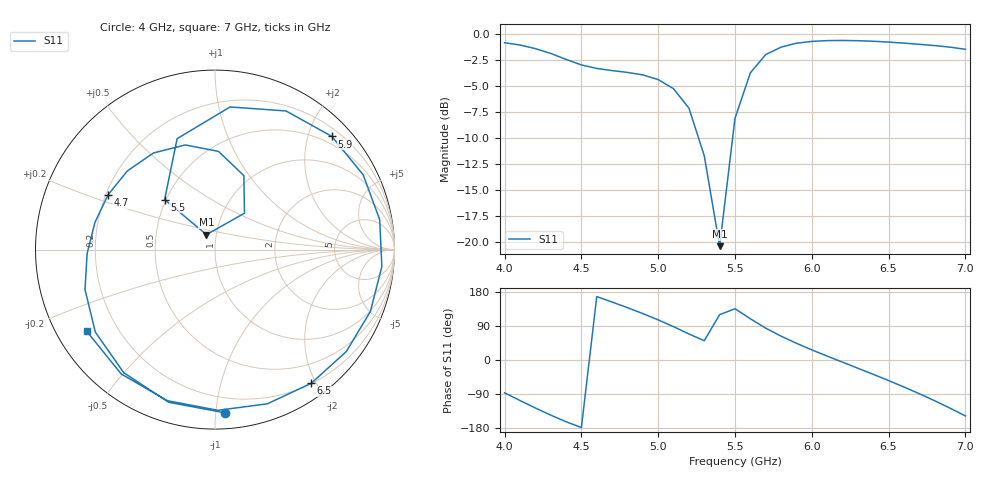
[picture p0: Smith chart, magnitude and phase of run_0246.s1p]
! Touchstone file exported from HFSS 2024.2.0
!  File:  C:/Users/wsak9/Desktop/Sim Fast/Widenad Patch/WP_AI_V1_sweep.aedt
!  Generated:  01:19:50 AM Oct 14, 2026
!  Design:  A1_model
!  Project:  WP_AI_V1_sweep
!  Setup:  Setup1
!  Solution:  Sweep
! Variables:
!  Air_gap = 4.94mm
!  Curve_Amp1 = 1.62
!  Curve_len1 = 1
!  Curve_pos = 11.505mm
!  Extra = 7.71mm
!  H_sub = 0.79mm
!  L_Patch = 19.01mm
!  L_Patch1 = 18.71mm
!  Sx = 0.82mm
!  Sy = 3.85mm
!  WS = 1.25mm
!  W_Patch = 21.33mm
!  W_Patch1 = 11mm
!Data is not renormalized
# GHz S MA
! Terminal data exported
! Port[1] = 1
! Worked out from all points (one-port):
!   31 points, 4 GHz to 7 GHz, reference per port
!   lowest |S11| = -20.4 dB at 5.4 GHz (marker M1), VSWR 1.21
!   |S11| at or under -10 dB: 5.264 GHz to 5.484 GHz (220.7 MHz wide, 4.11 % of centre)
!   S11 on the Smith chart (normalised r, x): 4 GHz: 0.10, -1.06; 4.7 GHz: 0.21, +0.23; 5.5 GHz: 0.49, +0.32; 5.9 GHz: 0.34, +2.43; 6.5 GHz: 0.20, -1.93; 7 GHz: 0.09, -0.29
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4  0.9106 -86.6
4.1  0.8888 -106.9
4.2  0.8537 -126.6
4.3  0.8097 -145.4
4.4  0.7577 -162.9
4.5  0.7127 -178.3
4.7  0.6695 152.9
4.8  0.6562 138.1
5  0.6063 105.9
5.1  0.5475 88.0
5.2  0.4421 68.7
5.3  0.2608 51.0
5.4  0.096 119.7
5.5  0.3952 135.3
5.6  0.6531 108.8
5.7  0.7991 84.0
5.8  0.8678 62.9
5.9  0.9064 44.1
6  0.9247 26.8
6.1  0.9327 10.3
6.2  0.9344 -5.8
6.3  0.9319 -21.7
6.5  0.9178 -54.3
6.6  0.9073 -71.3
6.7  0.8955 -89.0
6.8  0.8828 -107.5
6.9  0.8678 -127.1
7  0.8474 -147.6
